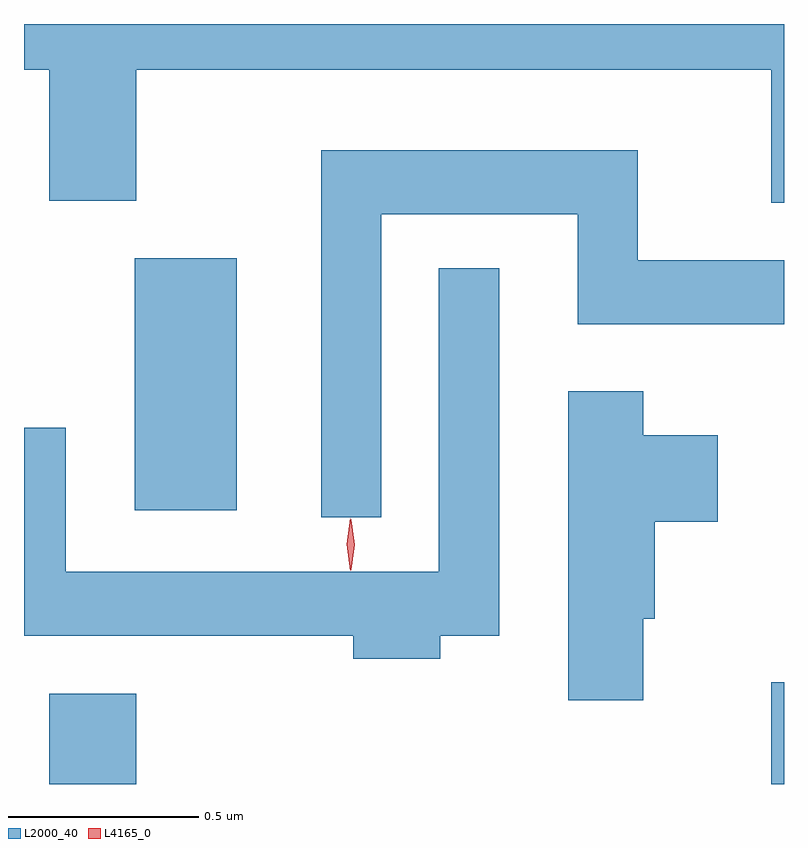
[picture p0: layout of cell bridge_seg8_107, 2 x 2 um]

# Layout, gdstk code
import gdstk
lib = gdstk.Library(unit=1e-6, precision=1e-09)
def R(c, l, rs):  # rectangles x0, y0, x1, y1
    for r in rs: c.add(gdstk.rectangle(r[:2], r[2:], *l))
def P(c, l, *ps):  # polygons
    for p in ps: c.add(gdstk.Polygon(p, *l))
L2000_40 = (2000, 40)
L4165_0 = (4165, 0)

bridge_seg8_107 = lib.new_cell('bridge_seg8_107')
R(bridge_seg8_107, L2000_40, [(1537.051,1814.556,1537.279,1814.794), (1538.951,1814.556,1538.984,1814.824), (1537.276,1815.276,1537.544,1815.939)])
P(bridge_seg8_107, L2000_40, [(1538.984,1816.556),(1536.984,1816.556),(1536.984,1816.436),(1537.051,1816.436),(1537.051,1816.091),(1537.279,1816.091),(1537.279,1816.436),(1538.951,1816.436),(1538.951,1816.086),(1538.984,1816.086)],
  [(1537.924,1816.056),(1538.441,1816.056),(1538.441,1815.766),(1538.984,1815.766),(1538.984,1815.934),(1538.599,1815.934),(1538.599,1816.224),(1537.766,1816.224),(1537.766,1815.258),(1537.924,1815.258)],
  [(1538.079,1814.946),(1538.234,1814.946),(1538.234,1815.913),(1538.076,1815.913),(1538.076,1815.114),(1537.094,1815.114),(1537.094,1815.493),(1536.984,1815.493),(1536.984,1814.946),(1537.851,1814.946),(1537.851,1814.886),(1538.079,1814.886)],
  [(1538.614,1814.991),(1538.644,1814.991),(1538.644,1815.246),(1538.809,1815.246),(1538.809,1815.474),(1538.614,1815.474),(1538.614,1815.589),(1538.416,1815.589),(1538.416,1814.776),(1538.614,1814.776)])
P(bridge_seg8_107, L4165_0, [(1537.845,1815.119),(1537.844,1815.12),(1537.835,1815.186),(1537.844,1815.252),(1537.845,1815.253),(1537.845,1815.252),(1537.855,1815.186),(1537.845,1815.12)],
  [(1537.842,1815.117),(1537.833,1815.187),(1537.842,1815.256),(1537.843,1815.256),(1537.843,1815.256),(1537.853,1815.187),(1537.843,1815.117),(1537.843,1815.117)])

lib.write_gds('bridge_seg8_107.gds')
